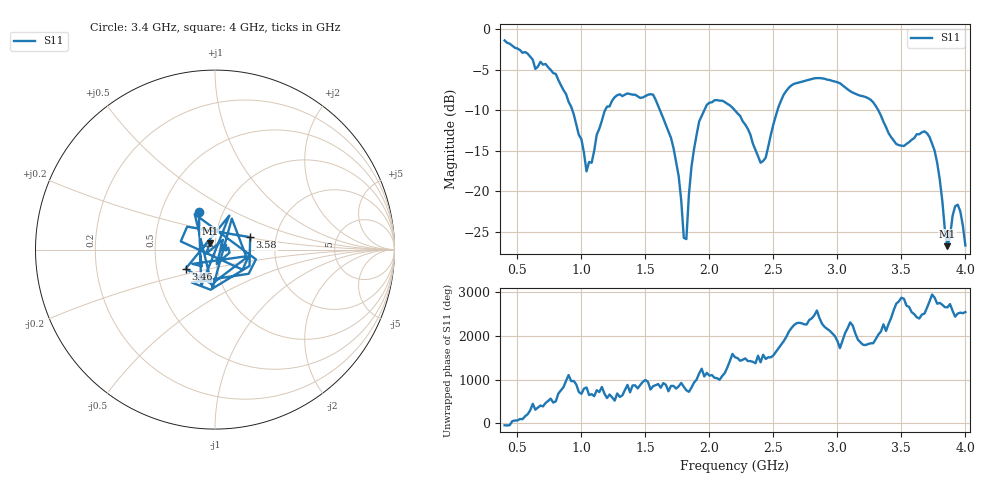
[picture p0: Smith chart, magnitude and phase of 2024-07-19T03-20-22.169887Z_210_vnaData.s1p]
!Created with skrf (http://scikit-rf.org).
# Hz S RI R 50.0
!freq ReS11 ImS11
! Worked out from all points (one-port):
!   181 points, 400 MHz to 4 GHz, reference 50 ohm
!   lowest |S11| = -26.8 dB at 3.86 GHz (marker M1), VSWR 1.10, Z = 47 + j3.32 ohm
!   |S11| at or under -10 dB: 1.614 GHz to 1.96 GHz (345.8 MHz wide, 19.3 % of centre); 2.199 GHz to 2.532 GHz (333.2 MHz wide, 14.1 % of centre); 3.32 GHz to end of sweep (the widest 3 of 4)
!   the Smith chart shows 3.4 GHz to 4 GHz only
!   S11 on the Smith chart (normalised r, x): 3.4 GHz: 0.77, +0.34; 3.46 GHz: 0.70, -0.16; 3.58 GHz: 1.47, +0.21; 4 GHz: 1.09, +0.04
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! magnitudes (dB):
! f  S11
! 400 MHz  -1.4
! 860 MHz  -7.5
! 1 GHz  -13.6
! 1.04 GHz  -17.5
! 1.18 GHz  -10.1
! 1.3 GHz  -8.0
! 1.56 GHz  -8.1
! 1.7 GHz  -13.4
! 1.76 GHz  -18.1
! 1.8 GHz  -25.8
! 1.82 GHz  -25.9
! 1.86 GHz  -17.0
! 1.92 GHz  -11.4
! 2.04 GHz  -8.8
! 2.2 GHz  -10.0
! 2.4 GHz  -16.5
! 2.66 GHz  -6.7
! 3.1 GHz  -7.6
! 3.28 GHz  -9.0
! 3.4 GHz  -12.8
! 3.46 GHz  -14.2
! 3.56 GHz  -13.9
! 3.58 GHz  -13.6
! 3.68 GHz  -12.6
! 3.76 GHz  -15.0
! 3.86 GHz  -26.8
! 3.94 GHz  -21.7
! 4 GHz  -26.7
